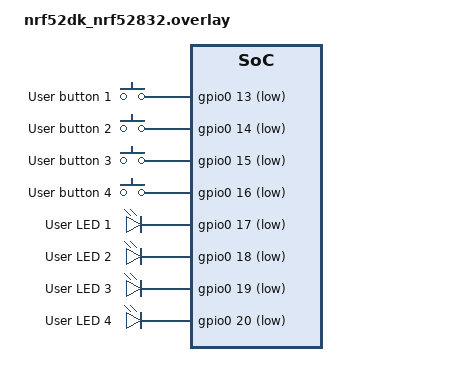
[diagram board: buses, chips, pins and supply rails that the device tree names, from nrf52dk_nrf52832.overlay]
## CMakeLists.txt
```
cmake_minimum_required(VERSION 3.16.0)
find_package(Zephyr REQUIRED HINTS $ENV{ZEPHYR_BASE})
project(gpio_interrupt)
target_sources(app PRIVATE src/main.c)
```

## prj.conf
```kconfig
CONFIG_LOG_BACKEND_UART=n
CONFIG_LOG_BACKEND_RTT=y
CONFIG_LOG=y
```

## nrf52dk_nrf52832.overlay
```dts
/{
    inputs{
        compatible = "gpio-keys";
        btn1:button1{
            gpios = < &gpio0 13 GPIO_ACTIVE_LOW >;
            label = "User button 1";
        };

        btn2:button2{
            gpios = < &gpio0 14 GPIO_ACTIVE_LOW >;
            label = "User button 2";
        };

        btn3:button3{
            gpios = < &gpio0 15 GPIO_ACTIVE_LOW >;
            label = "User button 3";
        };

        btn4:button4{
            gpios = < &gpio0 16 GPIO_ACTIVE_LOW >;
            label = "User button 4";
        };
    };

    outputs{
        compatible = "gpio-leds";

        ld1:led1{
            gpios = < &gpio0 17 GPIO_ACTIVE_LOW >;
            label = "User LED 1";
        };

        ld2:led2{
            gpios = < &gpio0 18 GPIO_ACTIVE_LOW >;
            label = "User LED 2";
        };

        ld3:led3{
            gpios = < &gpio0 19 GPIO_ACTIVE_LOW >;
            label = "User LED 3";
        };

        ld4:led4{
            gpios = < &gpio0 20 GPIO_ACTIVE_LOW >;
            label = "User LED 4";
        };
    };

    aliases {
        // User LEDs.
        ld1=&ld1;
        ld2=&ld2;
        ld3=&ld3;
        ld4=&ld4;
        // User buttons.
        btn1=&btn1;
        btn2=&btn2;
        btn3=&btn3;
        btn4=&btn4;
    };
};
```

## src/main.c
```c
#include <stdio.h>

#include <zephyr/kernel.h>
#include <zephyr/logging/log.h>
#include <zephyr/drivers/gpio.h>

LOG_MODULE_REGISTER(gpio_interrupt, LOG_LEVEL_INF);

#define BTN1_NODE   DT_ALIAS(btn1)
#define BTN2_NODE   DT_ALIAS(btn2)
#define BTN3_NODE   DT_ALIAS(btn3)
#define BTN4_NODE   DT_ALIAS(btn4)

#define LED1_NODE   DT_ALIAS(ld1)
#define LED2_NODE   DT_ALIAS(ld2)
#define LED3_NODE   DT_ALIAS(ld3)
#define LED4_NODE   DT_ALIAS(ld4)


static const struct gpio_dt_spec ledList[4] = {
                GPIO_DT_SPEC_GET(LED1_NODE, gpios),
                GPIO_DT_SPEC_GET(LED2_NODE, gpios),
                GPIO_DT_SPEC_GET(LED3_NODE, gpios),
                GPIO_DT_SPEC_GET(LED4_NODE, gpios)
                };

static const struct gpio_dt_spec buttonsLit[4] = {
                GPIO_DT_SPEC_GET(BTN1_NODE, gpios),
                GPIO_DT_SPEC_GET(BTN2_NODE, gpios),
                GPIO_DT_SPEC_GET(BTN3_NODE, gpios),
                GPIO_DT_SPEC_GET(BTN4_NODE, gpios)
};

static struct gpio_callback btn1_cb_data;

void btn1_isr(const struct device *dev, struct gpio_callback *cb, gpio_port_pins_t pins)
{
    LOG_INF("Executing button1 isr function.");   
    for(uint8_t i=0; i<4; i++)
    {
        gpio_pin_toggle_dt(&ledList[i]);
    }
}

static int init_gpios(void)
{
    //Init LEDs
    LOG_INF("Initialize all LEDs...");
    for(uint8_t i=0; i<4; i++)
    {
        if(!device_is_ready(ledList[i].port))
        {
            LOG_ERR("Initialization error in the led %d. ",(i+1));
            return 0;   //Return error.
        }
        gpio_pin_configure_dt(&ledList[i], (GPIO_OUTPUT | GPIO_PUSH_PULL));    
    }
    LOG_INF("All LEDs are ready to work...");

    //Init Buttons.
    LOG_INF("Initialize all Buttons.");
    for(uint8_t i=0; i<4; i++)
    {
        if(!device_is_ready(buttonsLit[i].port))
        {
            LOG_ERR("Initialization error in the button %d.",(i+1));
        }
        gpio_pin_configure_dt(&buttonsLit[i], (GPIO_INPUT | GPIO_PULL_UP));

        
    
    }  
    //Configure the interrupt for the first button.
    gpio_pin_interrupt_configure_dt(&buttonsLit[0], GPIO_INT_EDGE_FALLING);

    //Define the callback function.
    gpio_init_callback(&btn1_cb_data, btn1_isr, BIT(buttonsLit[0].pin));

    gpio_add_callback(buttonsLit[0].port, &btn1_cb_data);

    LOG_INF("All buttons are ready to work...");

    return 1;
}

int main(void)
{
    if(!init_gpios())
        return 0;

    while(1)
    {
        k_msleep(1000);
    }
    return 1;
}
```
